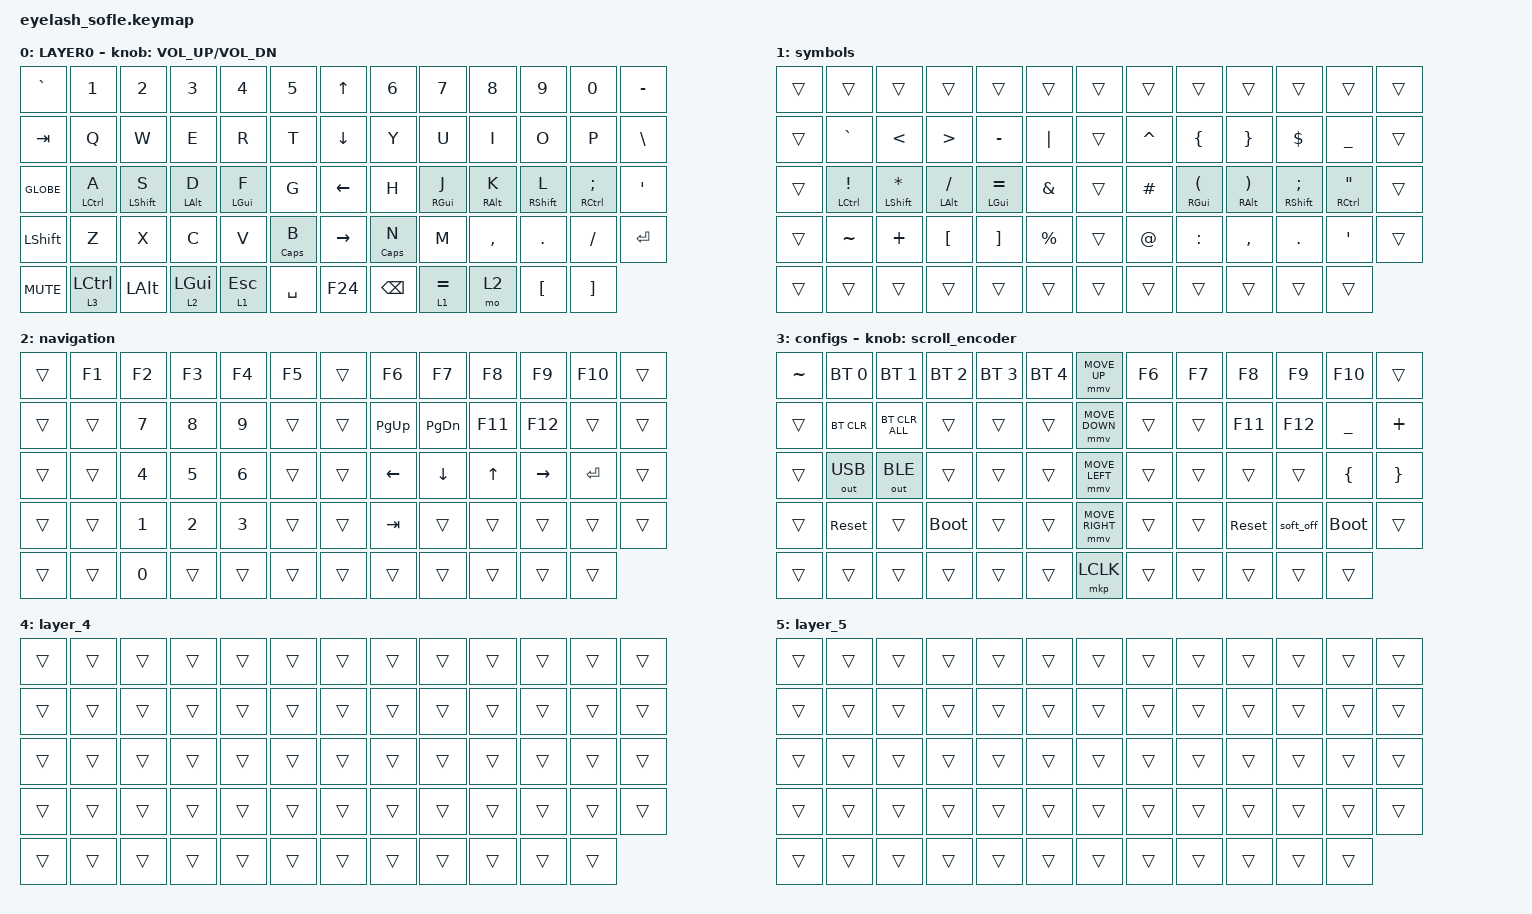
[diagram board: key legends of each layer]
#define ZMK_POINTING_DEFAULT_MOVE_VAL 1200  // 600
#define ZMK_POINTING_DEFAULT_SCRL_VAL 25   // 10

#include <input/processors.dtsi>
#include <zephyr/dt-bindings/input/input-event-codes.h>
#include <behaviors.dtsi>
#include <dt-bindings/zmk/bt.h>
#include <dt-bindings/zmk/keys.h>
#include <dt-bindings/zmk/outputs.h>
#include <dt-bindings/zmk/pointing.h>

&mmv_input_listener { input-processors = <&zip_xy_scaler 2 1>; };

&msc_input_listener { input-processors = <&zip_scroll_scaler 2 1>; };

&msc {
    acceleration-exponent = <1>;      // 0
    time-to-max-speed-ms = <100>;       // 300
    delay-ms = <0>;                   // 0
};

&mmv {
    time-to-max-speed-ms = <500>;
    acceleration-exponent = <1>;
    trigger-period-ms = <16>;
};

&mt {
    tapping-term-ms = <200>;
    flavor = "tap-preferred";
};

&lt { tapping-term-ms = <200>; };

/ {
    scroll_encoder: scroll_encoder {
        compatible = "zmk,behavior-sensor-rotate";
        #sensor-binding-cells = <0>;
        bindings = <&msc SCRL_DOWN>, <&msc SCRL_UP>;

        tap-ms = <100>;
    };

    behaviors {
    };

    keymap {
        compatible = "zmk,keymap";

        keys {
            bindings = <
&kp GRAVE   &kp N1              &kp N2            &kp N3          &kp N4          &kp N5        &kp UP_ARROW     &kp N6         &kp N7           &kp N8           &kp N9             &kp N0                  &kp MINUS
&kp TAB     &kp Q               &kp W             &kp E           &kp R           &kp T         &kp DOWN_ARROW   &kp Y          &kp U            &kp I            &kp O              &kp P                   &kp BSLH
&kp GLOBE   &mt LCTRL A         &mt LEFT_SHIFT S  &mt LEFT_ALT D  &mt LEFT_GUI F  &kp G         &kp LEFT_ARROW   &kp H          &mt RIGHT_GUI J  &mt RIGHT_ALT K  &mt RIGHT_SHIFT L  &mt RIGHT_CONTROL SEMI  &kp APOS
&kp LSHFT   &kp Z               &kp X             &kp C           &kp V           &mt CAPS B    &kp RIGHT_ARROW  &mt CAPS N     &kp M            &kp COMMA        &kp DOT            &kp FSLH                &kp ENTER
&kp C_MUTE  &lt 3 LEFT_CONTROL  &kp LEFT_ALT      &lt 2 LEFT_GUI  &lt 1 ESCAPE    &kp SPACE     &kp F24          &kp BACKSPACE  &lt 1 EQUAL      &mo 2            &kp LEFT_BRACKET   &kp RIGHT_BRACKET
            >;

            sensor-bindings = <&inc_dec_kp C_VOLUME_UP C_VOL_DN>;
            display-name = "LAYER0";
        };

        symbols {
            bindings = <
&trans  &trans                 &trans                &trans              &trans              &trans         &trans  &trans     &trans                          &trans                           &trans                &trans                           &trans
&trans  &kp GRAVE              &kp LESS_THAN         &kp GREATER_THAN    &kp MINUS           &kp PIPE       &trans  &kp CARET  &kp LEFT_BRACE                  &kp RIGHT_BRACE                  &kp DOLLAR            &kp UNDERSCORE                   &trans
&trans  &mt LEFT_CONTROL EXCL  &mt LEFT_SHIFT ASTRK  &mt LEFT_ALT SLASH  &mt LEFT_GUI EQUAL  &kp AMPS       &trans  &kp HASH   &mt RIGHT_GUI LEFT_PARENTHESIS  &mt RIGHT_ALT RIGHT_PARENTHESIS  &mt RIGHT_SHIFT SEMI  &mt RIGHT_CONTROL DOUBLE_QUOTES  &trans
&trans  &kp TILDE              &kp PLUS              &kp LEFT_BRACKET    &kp RIGHT_BRACKET   &kp PERCENT    &trans  &kp AT     &kp COLON                       &kp COMMA                        &kp DOT               &kp SINGLE_QUOTE                 &trans
&trans  &trans                 &trans                &trans              &trans              &trans         &trans  &trans     &trans                          &trans                           &trans                &trans
            >;
        };

        navigation {
            bindings = <
&trans  &kp F1  &kp F2  &kp F3  &kp F4  &kp F5    &trans  &kp F6       &kp F7         &kp F8   &kp F9     &kp F10     &trans
&trans  &trans  &kp N7  &kp N8  &kp N9  &trans    &trans  &kp PAGE_UP  &kp PAGE_DOWN  &kp F11  &kp F12    &trans      &trans
&trans  &trans  &kp N4  &kp N5  &kp N6  &trans    &trans  &kp LEFT     &kp DOWN       &kp UP   &kp RIGHT  &kp RETURN  &trans
&trans  &trans  &kp N1  &kp N2  &kp N3  &trans    &trans  &kp TAB      &trans         &trans   &trans     &trans      &trans
&trans  &trans  &kp N0  &trans  &trans  &trans    &trans  &trans       &trans         &trans   &trans     &trans
            >;
        };

        configs {
            bindings = <
&kp TILDE  &bt BT_SEL 0  &bt BT_SEL 1    &bt BT_SEL 2  &bt BT_SEL 3  &bt BT_SEL 4    &mmv MOVE_UP     &kp F6  &kp F7  &kp F8      &kp F9     &kp F10      &trans
&trans     &bt BT_CLR    &bt BT_CLR_ALL  &trans        &trans        &trans          &mmv MOVE_DOWN   &trans  &trans  &kp F11     &kp F12    &kp UNDER    &kp PLUS
&trans     &out OUT_USB  &out OUT_BLE    &trans        &trans        &trans          &mmv MOVE_LEFT   &trans  &trans  &trans      &trans     &kp LBRC     &kp RBRC
&trans     &sys_reset    &trans          &bootloader   &trans        &trans          &mmv MOVE_RIGHT  &trans  &trans  &sys_reset  &soft_off  &bootloader  &trans
&trans     &trans        &trans          &trans        &trans        &trans          &mkp LCLK        &trans  &trans  &trans      &trans     &trans
            >;

            sensor-bindings = <&scroll_encoder>;
        };

        layer_4 {
            bindings = <
&trans  &trans  &trans  &trans  &trans  &trans    &trans  &trans  &trans  &trans  &trans  &trans  &trans
&trans  &trans  &trans  &trans  &trans  &trans    &trans  &trans  &trans  &trans  &trans  &trans  &trans
&trans  &trans  &trans  &trans  &trans  &trans    &trans  &trans  &trans  &trans  &trans  &trans  &trans
&trans  &trans  &trans  &trans  &trans  &trans    &trans  &trans  &trans  &trans  &trans  &trans  &trans
&trans  &trans  &trans  &trans  &trans  &trans    &trans  &trans  &trans  &trans  &trans  &trans
            >;
        };

        layer_5 {
            bindings = <
&trans  &trans  &trans  &trans  &trans  &trans    &trans  &trans  &trans  &trans  &trans  &trans  &trans
&trans  &trans  &trans  &trans  &trans  &trans    &trans  &trans  &trans  &trans  &trans  &trans  &trans
&trans  &trans  &trans  &trans  &trans  &trans    &trans  &trans  &trans  &trans  &trans  &trans  &trans
&trans  &trans  &trans  &trans  &trans  &trans    &trans  &trans  &trans  &trans  &trans  &trans  &trans
&trans  &trans  &trans  &trans  &trans  &trans    &trans  &trans  &trans  &trans  &trans  &trans
            >;
        };
    };
};
